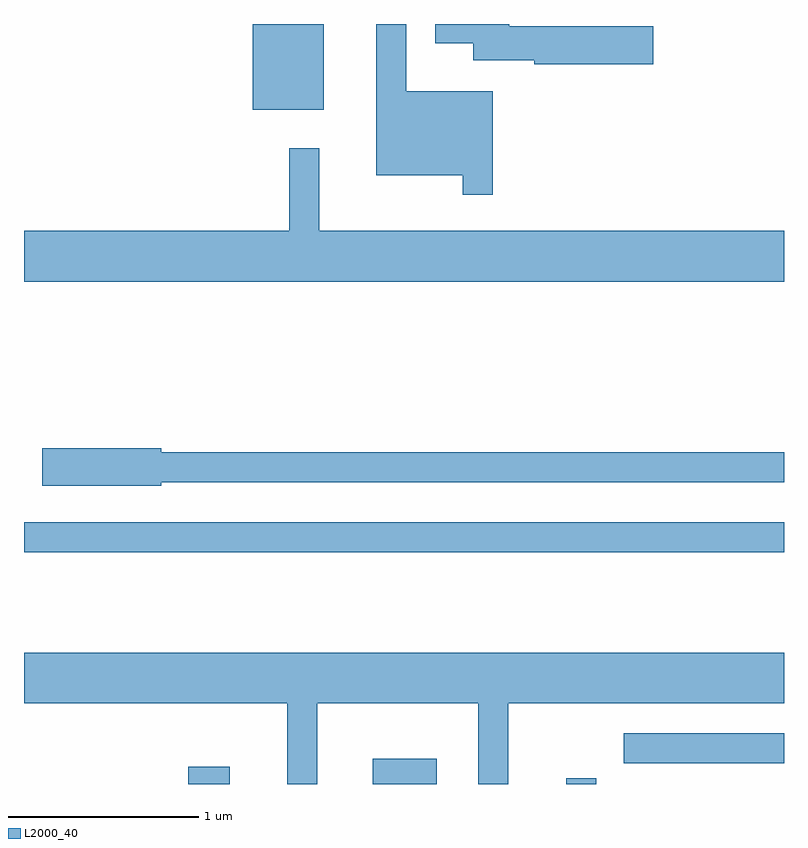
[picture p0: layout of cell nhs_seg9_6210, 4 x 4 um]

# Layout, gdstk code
import gdstk
lib = gdstk.Library(unit=1e-6, precision=1e-09)
def R(c, l, rs):  # rectangles x0, y0, x1, y1
    for r in rs: c.add(gdstk.rectangle(r[:2], r[2:], *l))
def P(c, l, *ps):  # polygons
    for p in ps: c.add(gdstk.Polygon(p, *l))
L2000_40 = (2000, 40)

nhs_seg9_6210 = lib.new_cell('nhs_seg9_6210')
R(nhs_seg9_6210, L2000_40, [(368.476,2062.432,368.694,2062.524), (369.446,2062.432,369.784,2062.564), (370.466,2062.432,370.624,2062.463), (370.768,2062.541,371.611,2062.699), (367.611,2063.651,371.611,2063.809), (368.816,2065.981,369.189,2066.432)])
P(nhs_seg9_6210, L2000_40, [(370.079,2066.079),(369.624,2066.079),(369.624,2066.432),(369.466,2066.432),(369.466,2065.636),(369.921,2065.636),(369.921,2065.533),(370.079,2065.533)],
  [(370.924,2066.419),(370.164,2066.419),(370.164,2066.432),(369.776,2066.432),(369.776,2066.331),(369.976,2066.331),(369.976,2066.241),(370.296,2066.241),(370.296,2066.221),(370.924,2066.221)],
  [(371.611,2065.344),(369.164,2065.344),(369.164,2065.778),(369.006,2065.778),(369.006,2065.344),(367.611,2065.344),(367.611,2065.076),(371.611,2065.076)],
  [(368.334,2064.021),(371.611,2064.021),(371.611,2064.179),(368.334,2064.179),(368.334,2064.199),(367.706,2064.199),(367.706,2064.001),(368.334,2064.001)],
  [(369.154,2062.856),(370.001,2062.856),(370.001,2062.432),(370.159,2062.432),(370.159,2062.856),(371.611,2062.856),(371.611,2063.124),(367.611,2063.124),(367.611,2062.856),(368.996,2062.856),(368.996,2062.432),(369.154,2062.432)])

lib.write_gds('nhs_seg9_6210.gds')
